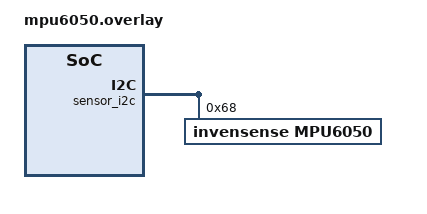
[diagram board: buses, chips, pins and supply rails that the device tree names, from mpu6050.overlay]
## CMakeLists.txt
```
# SPDX-License-Identifier: Apache-2.0
cmake_minimum_required(VERSION 3.20.0)
find_package(Zephyr REQUIRED HINTS $ENV{ZEPHYR_BASE})
project(acelerometro)

target_sources(app PRIVATE src/main.c)
```

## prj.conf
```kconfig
# ---- APIs que usa la aplicación ----
# Los drivers concretos (mpu6050, fxos8700, el I2C de cada SoC...) se
# habilitan solos porque su nodo del devicetree tiene status "okay".
CONFIG_GPIO=y
CONFIG_I2C=y
CONFIG_SENSOR=y

# ---- Logging, con punto flotante para mostrar las lecturas ----
CONFIG_LOG=y
CONFIG_CBPRINTF_FP_SUPPORT=y

# ---- Shell: explorar el hardware en vivo sin recompilar ----
#   uart:~$ device list
#   uart:~$ i2c scan <bus>
#   uart:~$ sensor get <sensor>
#   uart:~$ gpio get <puerto> <pin>
#   uart:~$ kernel thread list
CONFIG_SHELL=y
CONFIG_DEVICE_SHELL=y
CONFIG_I2C_SHELL=y
CONFIG_SENSOR_SHELL=y
CONFIG_GPIO_SHELL=y
CONFIG_KERNEL_SHELL=y
```

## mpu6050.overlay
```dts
/*
 * MPU6050 (acelerómetro + giróscopo) por I2C.
 *
 * Se cuelga del bus "sensor_i2c", que define el overlay de cada placa, y
 * pasa a ser "accel0". Se aplica DESPUÉS del devicetree de la placa, así
 * que en las placas con acelerómetro integrado lo reemplaza.
 *
 *   west build -b <placa> apps/acelerometro -- -DEXTRA_DTC_OVERLAY_FILE=mpu6050.overlay
 *
 * Dirección 0x68 (AD0 a GND) o 0x69 (AD0 a VCC).
 */
&sensor_i2c {
	mpu6050: mpu6050@68 {
		compatible = "invensense,mpu6050";
		reg = <0x68>;
	};
};

/ {
	aliases {
		accel0 = &mpu6050;
	};
};
```

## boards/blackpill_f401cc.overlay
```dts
/*
 * WeAct Black Pill (STM32F401CC): I2C1 -> SDA = PB9, SCL = PB8.
 */
sensor_i2c: &i2c1 {
	status = "okay";
};
```

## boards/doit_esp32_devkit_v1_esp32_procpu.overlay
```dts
/*
 * DOIT ESP32 DevKit V1: I2C0 -> SDA = GPIO21, SCL = GPIO22.
 */
sensor_i2c: &i2c0 {
	status = "okay";
};
```

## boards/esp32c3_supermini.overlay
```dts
/*
 * ESP32-C3 SuperMini (RISC-V): I2C0 -> SDA = GPIO9, SCL = GPIO10.
 * GPIO9 es también el botón BOOT: no presionarlo con el sensor conectado.
 */
sensor_i2c: &i2c0 {
	status = "okay";
};
```

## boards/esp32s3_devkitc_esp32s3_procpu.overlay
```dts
/*
 * ESP32-S3 DevKitC: I2C0 -> SDA = GPIO1, SCL = GPIO2.
 */
sensor_i2c: &i2c0 {
	status = "okay";
};
```

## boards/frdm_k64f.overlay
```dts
/*
 * FRDM-K64F: I2C0 (header Arduino) -> SDA = PTE25, SCL = PTE24.
 * El acelerómetro/magnetómetro FXOS8700 integrado ya es accel0 en el
 * devicetree de la placa; este overlay solo nombra el bus para el MPU6050.
 */
sensor_i2c: &i2c0 {
	status = "okay";
};
```

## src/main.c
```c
/*
 * acelerometro - Laboratorio de Sistemas Embebidos, UTN FRA
 *
 * Lee periódicamente "el sensor" y muestra todo lo que el driver sepa
 * medir: aceleración, velocidad angular, campo magnético, temperatura
 * del chip.
 *
 * La aplicación no nombra ningún sensor ni ninguna placa. Solo conoce el
 * alias "accel0", el nombre estándar que usa Zephyr para el acelerómetro
 * de una placa, y la API genérica de sensores. El mismo código muestra
 * aceleración + giro con un MPU6050 externo, aceleración + campo magnético
 * con el FXOS8700 de la FRDM-K64F, aceleración + temperatura con el
 * FXLS8974 de la FRDM-MCXN236, o solo aceleración con el MMA8652FC de la
 * LPCXpresso55S69.
 *
 * SPDX-License-Identifier: Apache-2.0
 */

#include <zephyr/kernel.h>
#include <zephyr/device.h>
#include <zephyr/drivers/gpio.h>
#include <zephyr/drivers/sensor.h>
#include <zephyr/logging/log.h>

LOG_MODULE_REGISTER(acelerometro, LOG_LEVEL_INF);

#if !DT_NODE_EXISTS(DT_ALIAS(accel0))
#error "Falta el alias 'accel0': esta placa no tiene acelerometro integrado. \
Compilá con -DEXTRA_DTC_OVERLAY_FILE=mpu6050.overlay"
#endif

static const struct device *const sensor = DEVICE_DT_GET(DT_ALIAS(accel0));

/* LED de "latido": opcional, si la placa no define led0 se omite. */
static const struct gpio_dt_spec led = GPIO_DT_SPEC_GET_OR(DT_ALIAS(led0), gpios, {0});

struct magnitud {
	enum sensor_channel canal;
	int ejes; /* 3 para X/Y/Z, 1 para un escalar */
	const char *nombre;
	const char *unidad;
};

/* Todo lo que la app sabe mostrar; cada driver responde lo que tiene
 * y devuelve -ENOTSUP para el resto. */
static const struct magnitud magnitudes[] = {
	{SENSOR_CHAN_ACCEL_XYZ, 3, "Aceleracion", "m/s2"},
	{SENSOR_CHAN_GYRO_XYZ, 3, "Giro", "rad/s"},
	{SENSOR_CHAN_MAGN_XYZ, 3, "Campo magn.", "G"},
	{SENSOR_CHAN_DIE_TEMP, 1, "Temp. chip", "C"},
	{SENSOR_CHAN_AMBIENT_TEMP, 1, "Temperatura", "C"},
};

static void mostrar(const struct magnitud *m)
{
	struct sensor_value v[3];

	if (sensor_channel_get(sensor, m->canal, v) != 0) {
		return; /* este sensor no mide esta magnitud */
	}

	if (m->ejes == 3) {
		LOG_INF("%-12s x=%8.3f y=%8.3f z=%8.3f %s", m->nombre,
			sensor_value_to_double(&v[0]), sensor_value_to_double(&v[1]),
			sensor_value_to_double(&v[2]), m->unidad);
	} else {
		LOG_INF("%-12s %8.3f %s", m->nombre, sensor_value_to_double(&v[0]), m->unidad);
	}
}

int main(void)
{
	LOG_INF("acelerometro en %s (SoC %s)", CONFIG_BOARD_TARGET, CONFIG_SOC);

	if (!device_is_ready(sensor)) {
		LOG_ERR("El sensor %s no respondio (cableado? direccion I2C?)", sensor->name);
		return -ENODEV;
	}
	LOG_INF("Sensor: %s", sensor->name);

	if (led.port != NULL && gpio_is_ready_dt(&led)) {
		gpio_pin_configure_dt(&led, GPIO_OUTPUT_INACTIVE);
	}

	while (1) {
		if (sensor_sample_fetch(sensor) < 0) {
			LOG_WRN("Error al leer el sensor");
		} else {
			for (size_t i = 0; i < ARRAY_SIZE(magnitudes); i++) {
				mostrar(&magnitudes[i]);
			}
		}

		if (led.port != NULL) {
			gpio_pin_toggle_dt(&led);
		}
		k_msleep(2000);
	}

	return 0;
}
```
